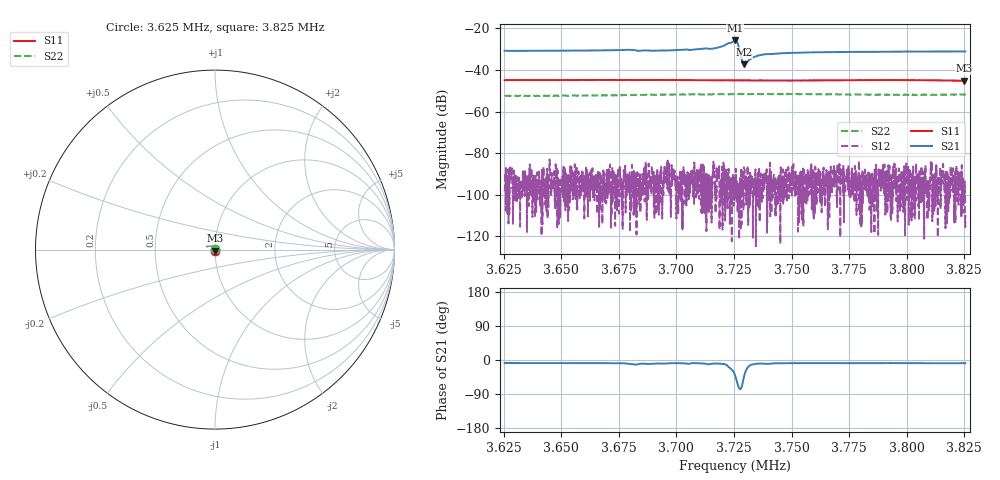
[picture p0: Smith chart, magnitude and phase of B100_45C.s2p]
# Hz S dB R 50.000
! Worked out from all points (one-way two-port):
!   6401 points, 3.625 MHz to 3.825 MHz, reference 50 ohm
!   highest |S21| = -25.79 dB at 3.725 MHz (marker M1); lowest = -37.2 dB at 3.729 MHz (marker M2)
!   lowest |S11| = -45.2 dB at 3.825 MHz (marker M3), VSWR 1.01, Z = 49.9 - j0.547 ohm
!   |S11| at or under -10 dB: start of sweep to end of sweep
!   |S22| runs from -52.6 to -51.4 dB; largest |S21 - S12| = 0.051
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3625469  -44.90 -95.0  -30.75 -7.6  -98.09 118.7  -52.49 107.4
3658813  -44.80 -94.0  -30.65 -8.3  -95.55 33.8  -52.33 108.4
3679032  -44.75 -94.2  -30.28 -9.8  -96.88 -45.8  -52.03 104.9
3683719  -44.84 -94.4  -30.80 -10.5  -97.16 66.0  -51.96 103.9
3692156  -44.79 -94.5  -30.60 -9.1  -103.30 -161.9  -51.86 103.2
3715438  -44.92 -94.6  -29.77 -9.8  -93.38 79.4  -51.73 104.3
3719469  -44.94 -94.6  -28.83 -9.7  -103.21 -164.6  -51.60 104.3
3725469  -44.99 -94.6  -25.79 -40.0  -92.22 19.3  -51.67 105.6
3726063  -44.97 -94.5  -26.02 -51.9  -100.28 23.4  -51.52 106.4
3726625  -44.96 -94.5  -27.14 -64.3  -108.72 -97.5  -51.59 105.7
3727188  -45.00 -94.0  -29.19 -73.5  -97.86 -131.8  -51.57 105.3
3728500  -44.98 -94.5  -35.49 -68.4  -90.61 -17.5  -51.53 106.2
3728938  -44.99 -94.5  -36.83 -56.2  -94.15 -26.5  -51.62 106.1
3729375  -45.03 -94.9  -37.20 -43.8  -86.75 25.1  -51.52 106.5
3730125  -45.02 -94.4  -36.74 -29.3  -92.04 14.6  -51.60 106.2
3732250  -45.00 -94.5  -34.65 -13.3  -99.39 -73.2  -51.59 106.4
3733656  -45.03 -94.6  -33.76 -10.9  -95.14 49.9  -51.56 106.8
3737656  -45.00 -94.5  -32.54 -9.5  -89.30 65.0  -51.60 107.7
3758813  -44.99 -94.5  -31.52 -8.3  -106.77 -60.4  -51.62 109.0
3792156  -44.82 -95.2  -31.24 -8.1  -102.83 16.1  -51.94 106.9
3825000  -45.18 -95.7  -31.08 -8.5  -98.59 132.1  -51.75 103.6
3825469  -45.11 -95.7  -31.08 -8.4  -109.81 107.8  -51.86 104.1
